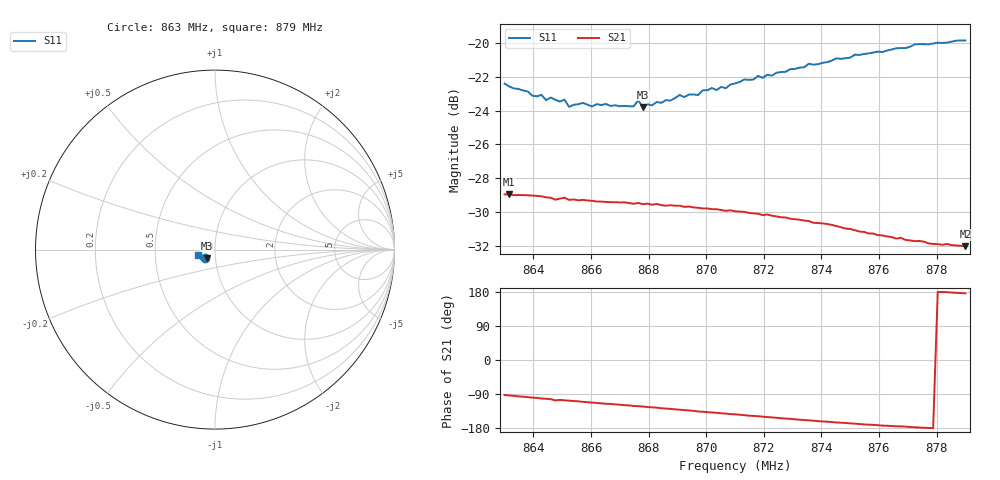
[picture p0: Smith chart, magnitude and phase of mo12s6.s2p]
# HZ S RI R 50
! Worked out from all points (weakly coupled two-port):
!   101 points, 863 MHz to 879 MHz, reference 50 ohm
!   highest |S21| = -28.96 dB at 863.16 MHz (marker M1); lowest = -32.0 dB at 879 MHz (marker M2)
!   lowest |S11| = -23.8 dB at 867.8 MHz (marker M3), VSWR 1.14, Z = 45.6 - j4.39 ohm
!   |S11| at or under -10 dB: start of sweep to end of sweep
!   S12 and S22 are empty: the file has one direction only
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8.63e8  -0.0584 -0.0483  -0.00147 -0.0356  0 0  0 0
8.6316e8  -0.0561 -0.0488  -0.00214 -0.0356  0 0  0 0
8.6396e8  -0.0524 -0.0462  -0.00562 -0.0349  0 0  0 0
8.6428e8  -0.0515 -0.0477  -0.00704 -0.0344  0 0  0 0
8.6444e8  -0.05 -0.0457  -0.00749 -0.0341  0 0  0 0
8.646e8  -0.0509 -0.0465  -0.00804 -0.0339  0 0  0 0
8.6508e8  -0.0495 -0.0466  -0.00985 -0.0334  0 0  0 0
8.6524e8  -0.0469 -0.0445  -0.0102 -0.0327  0 0  0 0
8.6572e8  -0.0471 -0.0468  -0.012 -0.0321  0 0  0 0
8.6604e8  -0.045 -0.0467  -0.013 -0.0315  0 0  0 0
8.6748e8  -0.0427 -0.049  -0.0174 -0.0285  0 0  0 0
8.6764e8  -0.0438 -0.0515  -0.0178 -0.0285  0 0  0 0
8.678e8  -0.0434 -0.0479  -0.018 -0.028  0 0  0 0
8.6844e8  -0.0428 -0.0509  -0.02 -0.0263  0 0  0 0
8.6908e8  -0.0453 -0.0535  -0.0217 -0.0248  0 0  0 0
8.6972e8  -0.044 -0.0546  -0.0234 -0.0226  0 0  0 0
8.6988e8  -0.0455 -0.0564  -0.0235 -0.0223  0 0  0 0
8.7068e8  -0.0472 -0.0563  -0.0249 -0.0199  0 0  0 0
8.71e8  -0.0489 -0.058  -0.0254 -0.019  0 0  0 0
8.7372e8  -0.0629 -0.059  -0.0276 -0.00995  0 0  0 0
8.7644e8  -0.0817 -0.0497  -0.0265 -0.00265  0 0  0 0
8.79e8  -0.0965 -0.0321  -0.0249 0.00179  0 0  0 0
